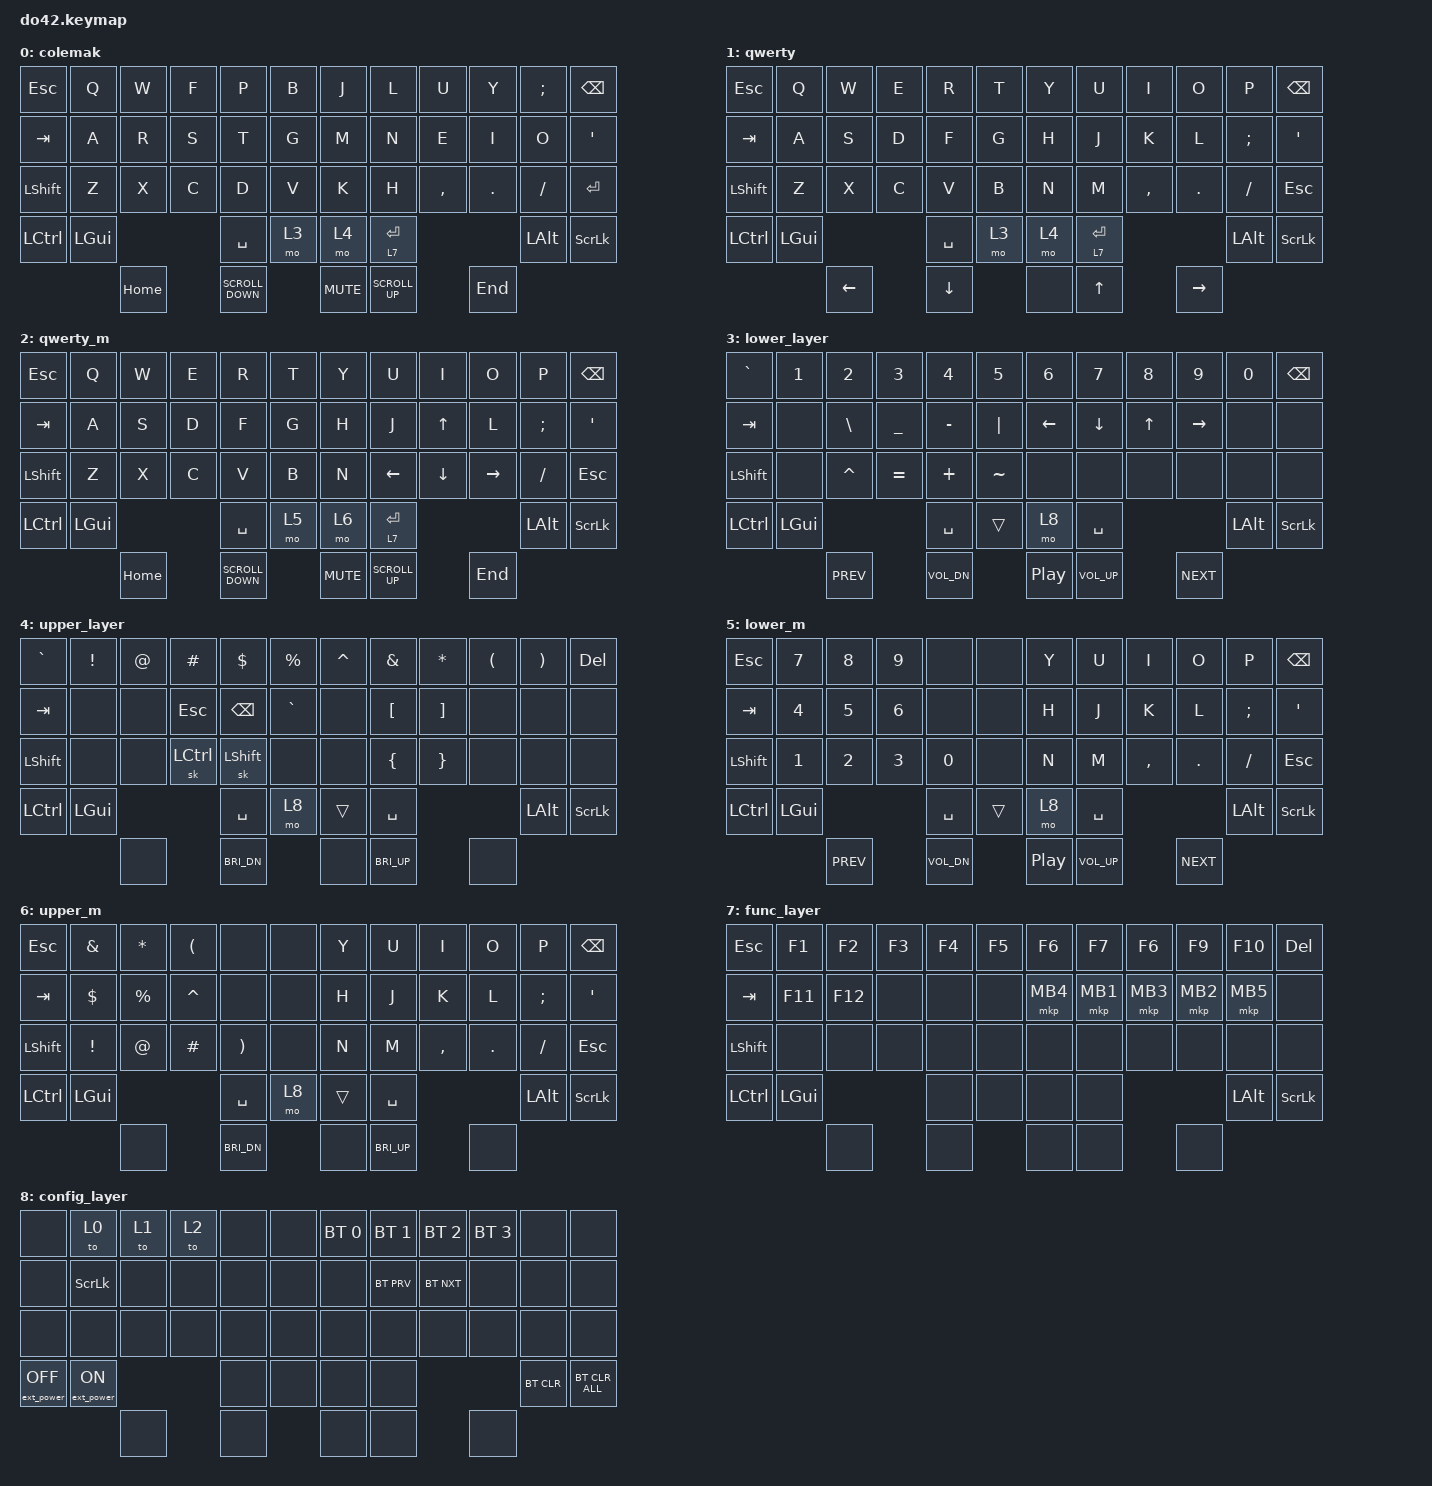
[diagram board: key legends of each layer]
#include <behaviors.dtsi>
#include <dt-bindings/zmk/keys.h>
#include <dt-bindings/zmk/bt.h>
#include <dt-bindings/zmk/ext_power.h>

#define HAS_MOUSE_KEYS
#define HAS_MOUSE_TP

#ifdef HAS_MOUSE_KEYS
  #include <dt-bindings/zmk/mouse.h>
  #include <behaviors/mouse_keys.dtsi>
#endif  // HAS_MOUSE_KEYS

#ifdef HAS_MOUSE_TP
  // We store the trackpoint settings in a separate file
  // to make organization a little easier.
  #include "include/mouse_tp.dtsi"
#endif  // HAS_MOUSE_TP

&lt {
    tapping-term-ms = <140>;
};

/ {
        keymap {
                compatible = "zmk,keymap";
                colemak { //0
                        bindings = <
   &kp ESC   &kp Q    &kp W &kp F  &kp P     &kp B       &kp J    &kp L &kp U     &kp Y   &kp SEMI &kp BSPC
   &kp TAB   &kp A    &kp R &kp S  &kp T     &kp G       &kp M    &kp N &kp E     &kp I   &kp O    &kp SQT
   &kp LSHFT &kp Z    &kp X &kp C  &kp D     &kp V       &kp K    &kp H &kp COMMA &kp DOT &kp FSLH &kp RET
   &kp LCTRL &kp LGUI              &kp SPACE &mo 3       &mo 4    &lt 7 RET               &kp LALT &kp SLCK
                                    // DPAD Left, Down, Middle, Up, Right
                        &kp HOME  &kp K_SCROLL_DOWN  &kp K_MUTE   &kp K_SCROLL_UP &kp END
                        >;
                };
                qwerty { //1
                        bindings = <
   &kp ESC   &kp Q    &kp W &kp E  &kp R     &kp T       &kp Y    &kp U &kp I     &kp O   &kp P    &kp BSPC
   &kp TAB   &kp A    &kp S &kp D  &kp F     &kp G       &kp H    &kp J &kp K     &kp L   &kp SEMI &kp SQT
   &kp LSHFT &kp Z    &kp X &kp C  &kp V     &kp B       &kp N    &kp M &kp COMMA &kp DOT &kp FSLH &kp ESC
   &kp LCTRL &kp LGUI              &kp SPACE &mo 3       &mo 4    &lt 7 RET               &kp LALT &kp SLCK
                                    // DPAD Left, Down, Middle, Up, Right
                                &kp LEFT  &kp DOWN  &none   &kp UP &kp RIGHT
                        >;
                };
                qwerty_m { //2
                        bindings = <
   &kp ESC   &kp Q    &kp W &kp E  &kp R     &kp T       &kp Y    &kp U    &kp I    &kp O     &kp P    &kp BSPC
   &kp TAB   &kp A    &kp S &kp D  &kp F     &kp G       &kp H    &kp J    &kp UP   &kp L     &kp SEMI &kp SQT
   &kp LSHFT &kp Z    &kp X &kp C  &kp V     &kp B       &kp N    &kp LEFT &kp DOWN &kp RIGHT &kp FSLH &kp ESC
   &kp LCTRL &kp LGUI              &kp SPACE &mo 5       &mo 6    &lt 7 RET               &kp LALT &kp SLCK
                                    // DPAD Left, Down, Middle, Up, Right
                        &kp HOME  &kp K_SCROLL_DOWN  &kp K_MUTE   &kp K_SCROLL_UP &kp END
                        >;
                };
                lower_layer { //3
                        bindings = <
   &kp GRAVE &kp N1   &kp N2    &kp N3    &kp N4    &kp N5        &kp N6   &kp N7    &kp N8  &kp N9    &kp N0   &kp BSPC
   &kp TAB   &none    &kp BSLH  &kp UNDER &kp MINUS &kp PIPE      &kp LEFT &kp DOWN  &kp UP  &kp RIGHT &none    &none
   &kp LSHFT &none    &kp CARET &kp EQUAL &kp PLUS  &kp TILDE     &none    &none     &none   &none     &none    &none
   &kp LCTRL &kp LGUI                     &kp SPACE &trans        &mo 8    &kp SPACE                   &kp LALT &kp SLCK
                                    // DPAD Left, Down, Middle, Up, Right
                        &kp C_PREV &kp C_VOL_DN  &kp C_PP &kp C_VOL_UP &kp C_NEXT
                        >;
                };
                upper_layer { //4
                        bindings = <
   &kp GRAVE &kp EXCL &kp AT &kp HASH  &kp DLLR   &kp PRCNT        &kp CARET &kp AMPS  &kp ASTRK &kp LPAR &kp RPAR &kp DEL
   &kp TAB   &none    &none  &kp ESC   &kp BSPC   &kp GRAVE        &none     &kp LBKT  &kp RBKT  &none    &none    &none
   &kp LSHFT &none    &none  &sk LCTRL &sk LSHIFT &none            &none     &kp LBRC  &kp RBRC  &none    &none    &none
   &kp LCTRL &kp LGUI                  &kp SPACE  &mo 8            &trans    &kp SPACE                    &kp LALT &kp SLCK
                                    // DPAD Left, Down, Middle, Up, Right
                                    &none &kp C_BRI_DN  &none &kp C_BRI_UP &none
                        >;
                };
                lower_m { //5
                        bindings = <
   &kp ESC   &kp N7    &kp N8  &kp N9    &none     &none         &kp Y &kp U    &kp I     &kp O   &kp P     &kp BSPC
   &kp TAB   &kp N4    &kp N5  &kp N6    &none     &none         &kp H &kp J    &kp K     &kp L   &kp SEMI  &kp SQT
   &kp LSHFT &kp N1    &kp N2  &kp N3    &kp N0    &none         &kp N &kp M    &kp COMMA &kp DOT &kp FSLH  &kp ESC
   &kp LCTRL &kp LGUI                    &kp SPACE &trans        &mo 8 &kp SPACE                  &kp LALT &kp SLCK
                                    // DPAD Left, Down, Middle, Up, Right
                        &kp C_PREV &kp C_VOL_DN  &kp C_PP &kp C_VOL_UP &kp C_NEXT
                        >;
                };
                upper_m { //6
                        bindings = <
   &kp ESC   &kp AMPS    &kp ASTRK  &kp LPAR    &none     &none         &kp Y  &kp U    &kp I     &kp O   &kp P     &kp BSPC
   &kp TAB   &kp DLLR   &kp PRCNT  &kp CARET    &none     &none         &kp H  &kp J    &kp K     &kp L   &kp SEMI  &kp SQT
   &kp LSHFT &kp EXCL    &kp AT     &kp HASH    &kp RPAR  &none         &kp N  &kp M    &kp COMMA &kp DOT &kp FSLH  &kp ESC
   &kp LCTRL &kp LGUI                           &kp SPACE &mo 8         &trans &kp SPACE                  &kp LALT  &kp SLCK
                                    // DPAD Left, Down, Middle, Up, Right
                                    &none &kp C_BRI_DN  &none &kp C_BRI_UP &none
                        >;
                };
                func_layer { //7
                        bindings = <
   &kp ESC   &kp F1   &kp F2  &kp F3 &kp F4 &kp F5      &kp F6   &kp F7   &kp F6   &kp F9   &kp F10  &kp DEL
   &kp TAB   &kp F11  &kp F12 &none  &none  &none       &mkp MB4 &mkp MB1 &mkp MB3 &mkp MB2 &mkp MB5 &none
   &kp LSHFT &none    &none   &none  &none  &none       &none    &none    &none    &none    &none    &none
   &kp LCTRL &kp LGUI                &none  &none       &none    &none                      &kp LALT &kp SLCK
                                    // DPAD Left, Down, Middle, Up, Right
                                      &none &none &none &none &none
                        >;
                };
                config_layer { //8
                        bindings = <
   &none         &to 0    &to 1 &to 2 &none &none           &bt BT_SEL 0   &bt BT_SEL 1 &bt BT_SEL 2 &bt BT_SEL 3 &none &none
   &none         &kp SLCK &none &none &none &none           &none          &bt BT_PRV   &bt BT_NXT   &none        &none &none
   &none         &none    &none &none &none &none           &none          &none        &none        &none        &none &none
   &ext_power EP_OFF &ext_power EP_ON &none &none           &none          &none                  &bt BT_CLR   &bt BT_CLR_ALL
                                    // DPAD Left, Down, Middle, Up, Right
                                      &none &none &none &none &none
                        >;
                };

        };
};
